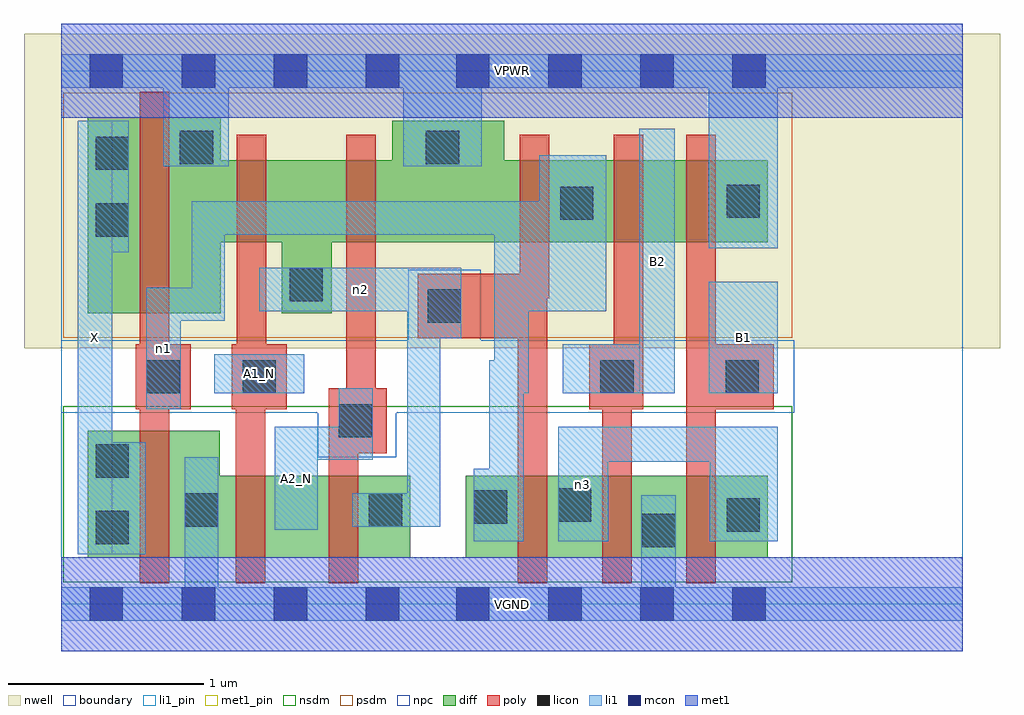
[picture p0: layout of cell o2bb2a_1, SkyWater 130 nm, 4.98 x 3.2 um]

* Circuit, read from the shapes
.subckt o2bb2a_1 A1_N A2_N B1 B2 VGND VPWR X n1 n2 n3
XM1 VGND n1 X VSUBS sky130_fd_pr__nfet_01v8 w=0.65 l=0.15
XM2 n4 A1_N VGND VSUBS sky130_fd_pr__nfet_01v8 w=0.42 l=0.15
XM3 n2 A2_N n4 VSUBS sky130_fd_pr__nfet_01v8 w=0.42 l=0.15
XM4 n3 n2 n1 VSUBS sky130_fd_pr__nfet_01v8 w=0.42 l=0.15
XM5 VGND B2 n3 VSUBS sky130_fd_pr__nfet_01v8 w=0.42 l=0.15
XM6 n3 B1 VGND VSUBS sky130_fd_pr__nfet_01v8 w=0.42 l=0.15
XM7 VPWR n1 X n5 sky130_fd_pr__pfet_01v8 w=1 l=0.15
XM8 n2 A1_N VPWR n5 sky130_fd_pr__pfet_01v8 w=0.42 l=0.15
XM9 VPWR A2_N n2 n5 sky130_fd_pr__pfet_01v8 w=0.42 l=0.15
XM10 n1 n2 VPWR n5 sky130_fd_pr__pfet_01v8 w=0.42 l=0.15
XM11 n6 B2 n1 n5 sky130_fd_pr__pfet_01v8 w=0.42 l=0.15
XM12 VPWR B1 n6 n5 sky130_fd_pr__pfet_01v8 w=0.42 l=0.15
.ends

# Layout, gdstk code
import gdstk
lib = gdstk.Library(unit=1e-6, precision=1e-09)
def R(c, l, rs):  # rectangles x0, y0, x1, y1
    for r in rs: c.add(gdstk.rectangle(r[:2], r[2:], *l))
def A(c, l, x, y, w, h, nx, ny, dx, dy):  # array of equal rectangles
    R(c, l, [(x+i*dx, y+j*dy, x+i*dx+w, y+j*dy+h) for i in range(nx) for j in range(ny)])
nwell = (64, 20)
diff = (65, 20)
poly = (66, 20)
licon = (66, 44)
li1_pin = (67, 16)
li1 = (67, 20)
mcon = (67, 44)
met1_pin = (68, 16)
met1 = (68, 20)
nsdm = (93, 44)
psdm = (94, 20)
npc = (95, 20)
boundary = (235, 4)

o2bb2a_1 = lib.new_cell('o2bb2a_1')
R(o2bb2a_1, nwell, [(-0.19,1.305,4.79,2.91), (0,1.305,4.6,2.91)])
R(o2bb2a_1, diff, [(0.135,0.235,1.78,0.655), (0.135,0.235,0.81,0.885), (2.065,0.235,3.605,0.655), (0.135,1.485,0.815,2.485), (1.125,1.485,1.38,2.265), (0.135,1.845,3.605,2.265), (1.69,1.845,2.26,2.465)])
R(o2bb2a_1, poly, [(0.4,0.105,0.55,2.615), (0.89,0.105,1.04,1.325), (1.365,0.105,1.515,1.1), (2.33,0.105,2.48,1.685), (2.34,0.105,2.48,2.395), (2.76,0.105,2.91,1.325), (3.19,0.105,3.34,2.395), (1.365,0.77,1.66,1.1), (0.38,0.995,0.66,1.325), (0.87,0.995,1.15,1.325), (0.895,0.995,1.045,2.395), (2.695,0.995,2.97,1.325), (2.82,0.995,2.97,2.395), (3.19,0.995,3.635,1.325), (1.455,1.1,1.605,2.395), (1.82,1.355,2.48,1.685), (2.34,1.56,2.49,2.395)])
R(o2bb2a_1, licon, [(2.965,0.29,3.135,0.46), (0.175,0.305,0.345,0.475), (3.395,0.37,3.565,0.54), (0.63,0.395,0.8,0.565), (1.57,0.395,1.74,0.565), (2.105,0.41,2.275,0.58), (2.535,0.42,2.705,0.59), (0.175,0.645,0.345,0.815), (1.415,0.85,1.585,1.02), (0.435,1.075,0.605,1.245), (0.925,1.075,1.095,1.245), (2.75,1.075,2.92,1.245), (3.39,1.075,3.56,1.245), (1.87,1.435,2.04,1.605), (1.165,1.545,1.335,1.715), (0.175,1.875,0.345,2.045), (2.545,1.96,2.715,2.13), (3.395,1.97,3.565,2.14), (0.175,2.215,0.345,2.385), (0.605,2.245,0.775,2.415), (1.86,2.245,2.03,2.415)])
R(o2bb2a_1, li1_pin, [(0.085,0.255,0.26,2.465), (1.09,0.38,1.31,0.905), (0.78,1.075,1.24,1.275), (2.95,1.075,3.13,2.425), (3.305,1.075,3.655,1.645)])
R(o2bb2a_1, li1, [(0,-0.085,4.6,0.085), (0.63,-0.085,0.8,0.75), (2.96,-0.085,3.135,0.555), (0.085,0.255,0.26,2.465), (0.085,0.255,0.43,0.825), (2.105,0.32,2.36,0.69), (2.185,0.32,2.36,1.245), (2.535,0.32,2.79,0.905), (3.31,0.32,3.655,0.905), (1.09,0.38,1.31,0.905), (1.485,0.395,1.935,0.565), (1.765,0.395,1.935,1.715), (2.535,0.725,3.655,0.905), (1.09,0.735,1.59,0.905), (1.415,0.735,1.59,1.1), (0.435,0.995,0.61,1.615), (0.78,1.075,1.24,1.275), (2.21,1.075,2.385,2.055), (2.56,1.075,3.13,1.325), (2.95,1.075,3.13,2.425), (3.305,1.075,3.655,1.645), (1.765,1.355,2.04,1.715), (0.435,1.445,0.835,1.615), (0.665,1.445,0.835,2.055), (1.01,1.495,2.04,1.715), (2.21,1.495,2.78,2.055), (2.44,1.495,2.78,2.29), (0.085,1.795,0.345,2.465), (3.305,1.815,3.655,2.805), (0.665,1.885,2.78,2.055), (0.52,2.235,0.855,2.805), (1.745,2.235,2.145,2.805), (0,2.635,4.6,2.805)])
A(o2bb2a_1, mcon, 0.145, -0.085, 0.17, 0.17, 4, 2, 0.47, 2.72)
A(o2bb2a_1, mcon, 2.015, -0.085, 0.17, 0.17, 4, 2, 0.47, 2.72)
R(o2bb2a_1, met1_pin, [(0,-0.24,4.6,0.24), (0,2.48,4.6,2.96)])
R(o2bb2a_1, met1, [(0,-0.24,4.6,0.24), (0,2.48,4.6,2.96)])
R(o2bb2a_1, nsdm, [(0.01,0.11,3.73,1.01)])
R(o2bb2a_1, psdm, [(0.01,1.36,3.73,2.61)])
R(o2bb2a_1, npc, [(1.31,0.75,1.71,1.345), (0,0.975,3.74,1.345), (1.77,0.975,2.14,1.705)])
R(o2bb2a_1, boundary, [(0,0,4.6,2.72)])
o2bb2a_1.add(gdstk.Label('A1_N', (1.01,1.175), layer=67, texttype=5))
o2bb2a_1.add(gdstk.Label('A2_N', (1.2,0.642), layer=67, texttype=5))
o2bb2a_1.add(gdstk.Label('B1', (3.48,1.36), layer=67, texttype=5))
o2bb2a_1.add(gdstk.Label('B2', (3.04,1.75), layer=67, texttype=5))
o2bb2a_1.add(gdstk.Label('X', (0.172,1.36), layer=67, texttype=5))
o2bb2a_1.add(gdstk.Label('n3', (2.662,0.612), layer=67, texttype=5))
o2bb2a_1.add(gdstk.Label('n2', (1.525,1.605), layer=67, texttype=5))
o2bb2a_1.add(gdstk.Label('n1', (0.522,1.305), layer=67, texttype=5))
o2bb2a_1.add(gdstk.Label('VPWR', (2.3,2.72), layer=68, texttype=5))
o2bb2a_1.add(gdstk.Label('VGND', (2.3,0), layer=68, texttype=5))
o2bb2a_1.add(gdstk.Label('A1_N', (1.01,1.175), layer=67, texttype=16))
o2bb2a_1.add(gdstk.Label('A2_N', (1.2,0.642), layer=67, texttype=16))
o2bb2a_1.add(gdstk.Label('B1', (3.48,1.36), layer=67, texttype=16))
o2bb2a_1.add(gdstk.Label('B2', (3.04,1.75), layer=67, texttype=16))
o2bb2a_1.add(gdstk.Label('X', (0.172,1.36), layer=67, texttype=16))
o2bb2a_1.add(gdstk.Label('VPWR', (2.3,2.72), layer=68, texttype=16))
o2bb2a_1.add(gdstk.Label('VGND', (2.3,0), layer=68, texttype=16))

lib.write_gds('o2bb2a_1.gds')
